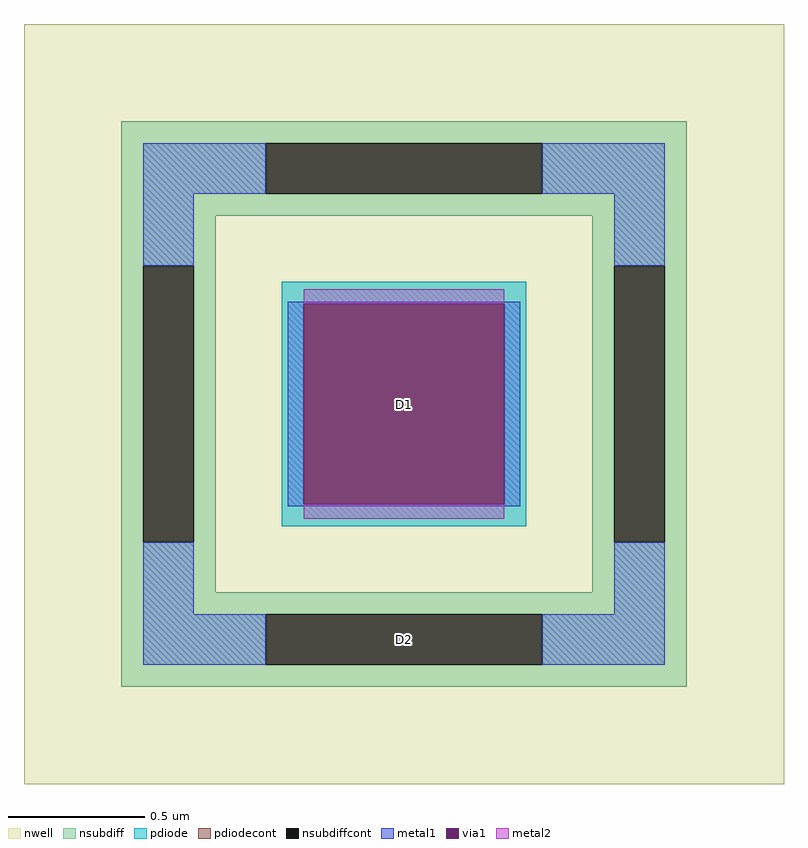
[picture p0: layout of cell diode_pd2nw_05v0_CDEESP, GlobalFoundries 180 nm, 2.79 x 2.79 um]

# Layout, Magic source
magic
tech gf180mcuD
magscale 3 26
<< nwell >>
rect -242 -242 242 242
<< nsubdiff >>
rect -180 166 180 180
rect -180 134 -88 166
rect 88 134 180 166
rect -180 120 180 134
rect -180 88 -120 120
rect -180 -88 -166 88
rect -134 -88 -120 88
rect 120 88 180 120
rect -180 -120 -120 -88
rect 120 -88 134 88
rect 166 -88 180 88
rect 120 -120 180 -88
rect -180 -134 180 -120
rect -180 -166 -88 -134
rect 88 -166 180 -134
rect -180 -180 180 -166
<< nsubdiffcont >>
rect -88 134 88 166
rect -166 -88 -134 88
rect 134 -88 166 88
rect -88 -166 88 -134
<< pdiode >>
rect -78 64 78 78
rect -78 -64 -64 64
rect 64 -64 78 64
rect -78 -78 78 -64
<< pdiodecont >>
rect -64 -64 64 64
<< metal1 >>
rect -166 134 -88 166
rect 88 134 166 166
rect -166 88 -134 134
rect 134 88 166 134
rect -74 64 74 65
rect -74 -64 -64 64
rect 64 -64 74 64
rect -74 -65 74 -64
rect -166 -134 -134 -88
rect 134 -134 166 -88
rect -166 -166 -88 -134
rect 88 -166 166 -134
<< via1 >>
rect -64 -64 64 64
<< metal2 >>
rect -64 64 64 73
rect -64 -73 64 -64
<< labels >>
rlabel nsubdiffcont 0 -150 0 -150 0 D2
port 3 nsew
rlabel pdiodecont 0 0 0 0 0 D1
port 4 nsew
<< properties >>
string FIXED_BBOX -150 -150 150 150
string gencell diode_pd2nw_05v0
string library gf180mcu
string parameters w 0.78 l 0.78 area 608.4m peri 3.12 nx 1 ny 1 dummy 0 lmin 0.45 wmin 0.45 class diode elc 1 erc 1 etc 1 ebc 1 doverlap 0 doports 1 full_metal 1 vias 1 viagb 0 viagt 0 viagl 0 viagr 0
<< end >>
